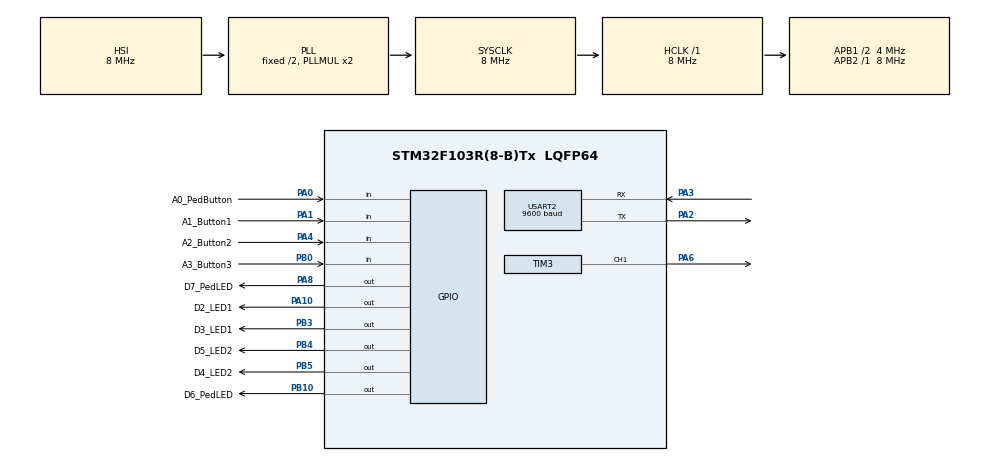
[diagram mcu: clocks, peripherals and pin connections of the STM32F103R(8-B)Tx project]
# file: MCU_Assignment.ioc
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Mcu.Family=STM32F1
Mcu.Name=STM32F103R(8-B)Tx
Mcu.Package=LQFP64
NVIC.PriorityGroup=NVIC_PRIORITYGROUP_4
NVIC.TIM2_IRQn=true\:0\:0\:false\:false\:true\:true\:true\:true
NVIC.TIM3_IRQn=true\:0\:0\:false\:false\:true\:true\:true\:true
NVIC.USART2_IRQn=true\:0\:0\:false\:false\:true\:true\:true\:true
PA0-WKUP.GPIO_Label=A0_PedButton
PA0-WKUP.Signal=GPIO_Input
PA1.GPIO_Label=A1_Button1
PA1.Signal=GPIO_Input
PA10.GPIO_Label=D2_LED1
PA10.Signal=GPIO_Output
PA13.Mode=Serial_Wire
PA13.Signal=SYS_JTMS-SWDIO
PA14.Mode=Serial_Wire
PA14.Signal=SYS_JTCK-SWCLK
PA2.Mode=Asynchronous
PA2.Signal=USART2_TX
PA3.Mode=Asynchronous
PA3.Signal=USART2_RX
PA4.GPIO_Label=A2_Button2
PA4.Signal=GPIO_Input
PA6.Signal=S_TIM3_CH1
PA8.GPIO_Label=D7_PedLED
PA8.Signal=GPIO_Output
PB0.GPIO_Label=A3_Button3
PB0.Signal=GPIO_Input
PB10.GPIO_Label=D6_PedLED
PB10.Signal=GPIO_Output
PB3.GPIO_Label=D3_LED1
PB3.Signal=GPIO_Output
PB4.GPIO_Label=D5_LED2
PB4.Signal=GPIO_Output
PB5.GPIO_Label=D4_LED2
PB5.Signal=GPIO_Output
ProjectManager.HeapSize=0x200
ProjectManager.StackSize=0x400
ProjectManager.TargetToolchain=STM32CubeIDE
RCC.AHBFreq_Value=8000000
RCC.APB1CLKDivider=RCC_HCLK_DIV2
RCC.APB1Freq_Value=4000000
RCC.APB1TimFreq_Value=8000000
RCC.APB2Freq_Value=8000000
RCC.APB2TimFreq_Value=8000000
RCC.HCLKFreq_Value=8000000
RCC.SYSCLKFreq_VALUE=8000000
RCC.SYSCLKSource=RCC_SYSCLKSOURCE_PLLCLK
RCC.USBFreq_Value=8000000
SH.S_TIM3_CH1.0=TIM3_CH1,PWM Generation1 CH1
TIM2.Period=9
TIM2.Prescaler=7999
TIM3.Channel-PWM\ Generation1\ CH1=TIM_CHANNEL_1
TIM3.Period=9
TIM3.Prescaler=7999
USART2.BaudRate=9600
USART2.VirtualMode=VM_ASYNC
VP_TIM2_VS_ClockSourceINT.Mode=Internal
VP_TIM3_VS_ClockSourceINT.Mode=Internal
board=custom

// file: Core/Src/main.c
/* USER CODE BEGIN Header */
/**
  ******************************************************************************
  * @file           : main.c
  * @brief          : Main program body
  ******************************************************************************
  * @attention
  *
  * <h2><center>&copy; Copyright (c) 2023 STMicroelectronics.
  * All rights reserved.</center></h2>
  *
  * This software component is licensed by ST under BSD 3-Clause license,
  * the "License"; You may not use this file except in compliance with the
  * License. You may obtain a copy of the License at:
  *                        opensource.org/licenses/BSD-3-Clause
  *
  ******************************************************************************
  */
/* USER CODE END Header */
#include "main.h"

/* USER CODE BEGIN Includes */
#include "global.h"
#include "timer.h"
#include "fsm_automatic.h"
#include "fsm_manual.h"
#include "input_processing.h"
#include "input_reading.h"
#include "uart.h"
/* USER CODE END Includes */

TIM_HandleTypeDef htim2;
TIM_HandleTypeDef htim3;

UART_HandleTypeDef huart2;

void SystemClock_Config(void);
static void MX_GPIO_Init(void);
static void MX_TIM2_Init(void);
static void MX_TIM3_Init(void);
static void MX_USART2_UART_Init(void);

/* USER CODE BEGIN 0 */
void buzzer(int vol){
	__HAL_TIM_SET_COMPARE(&htim3, TIM_CHANNEL_1, vol);
}
/* USER CODE END 0 */

int main(void)
{

  /* MCU Configuration--------------------------------------------------------*/

  /* Reset of all peripherals, Initializes the Flash interface and the Systick. */
  HAL_Init();

  /* Configure the system clock */
  SystemClock_Config();

  /* Initialize all configured peripherals */
  MX_GPIO_Init();
  MX_TIM2_Init();
  MX_TIM3_Init();
  MX_USART2_UART_Init();
  /* USER CODE BEGIN 2 */
  HAL_TIM_Base_Start_IT(&htim2);
  HAL_TIM_Base_Start_IT(&htim3);
  HAL_TIM_PWM_Start(&htim3, TIM_CHANNEL_1);
  setTimer6(500);
  /* USER CODE END 2 */

  /* Infinite loop */
  /* USER CODE BEGIN WHILE */
  while (1)
  {
	  fsm_automatic();
	  fsm_red_manual();
	  fsm_amber_manual();
	  fsm_green_manual();
	  fsm_button_processing();
    /* USER CODE END WHILE */

  }
}

void SystemClock_Config(void)
{
  RCC_OscInitTypeDef RCC_OscInitStruct = {0};
  RCC_ClkInitTypeDef RCC_ClkInitStruct = {0};

  /** Initializes the RCC Oscillators according to the specified parameters
  * in the RCC_OscInitTypeDef structure.
  */
  RCC_OscInitStruct.OscillatorType = RCC_OSCILLATORTYPE_HSI;
  RCC_OscInitStruct.HSIState = RCC_HSI_ON;
  RCC_OscInitStruct.HSICalibrationValue = RCC_HSICALIBRATION_DEFAULT;
  RCC_OscInitStruct.PLL.PLLState = RCC_PLL_ON;
  RCC_OscInitStruct.PLL.PLLSource = RCC_PLLSOURCE_HSI_DIV2;
  RCC_OscInitStruct.PLL.PLLMUL = RCC_PLL_MUL2;
  if (HAL_RCC_OscConfig(&RCC_OscInitStruct) != HAL_OK)
  {
    Error_Handler();
  }

  /** Initializes the CPU, AHB and APB buses clocks
  */
  RCC_ClkInitStruct.ClockType = RCC_CLOCKTYPE_HCLK|RCC_CLOCKTYPE_SYSCLK
                              |RCC_CLOCKTYPE_PCLK1|RCC_CLOCKTYPE_PCLK2;
  RCC_ClkInitStruct.SYSCLKSource = RCC_SYSCLKSOURCE_PLLCLK;
  RCC_ClkInitStruct.AHBCLKDivider = RCC_SYSCLK_DIV1;
  RCC_ClkInitStruct.APB1CLKDivider = RCC_HCLK_DIV2;
  RCC_ClkInitStruct.APB2CLKDivider = RCC_HCLK_DIV1;

  if (HAL_RCC_ClockConfig(&RCC_ClkInitStruct, FLASH_LATENCY_0) != HAL_OK)
  {
    Error_Handler();
  }
}

static void MX_TIM2_Init(void)
{

  TIM_ClockConfigTypeDef sClockSourceConfig = {0};
  TIM_MasterConfigTypeDef sMasterConfig = {0};

  htim2.Instance = TIM2;
  htim2.Init.Prescaler = 7999;
  htim2.Init.CounterMode = TIM_COUNTERMODE_UP;
  htim2.Init.Period = 9;
  htim2.Init.ClockDivision = TIM_CLOCKDIVISION_DIV1;
  htim2.Init.AutoReloadPreload = TIM_AUTORELOAD_PRELOAD_DISABLE;
  if (HAL_TIM_Base_Init(&htim2) != HAL_OK)
  {
    Error_Handler();
  }
  sClockSourceConfig.ClockSource = TIM_CLOCKSOURCE_INTERNAL;
  if (HAL_TIM_ConfigClockSource(&htim2, &sClockSourceConfig) != HAL_OK)
  {
    Error_Handler();
  }
  sMasterConfig.MasterOutputTrigger = TIM_TRGO_RESET;
  sMasterConfig.MasterSlaveMode = TIM_MASTERSLAVEMODE_DISABLE;
  if (HAL_TIMEx_MasterConfigSynchronization(&htim2, &sMasterConfig) != HAL_OK)
  {
    Error_Handler();
  }

}

static void MX_TIM3_Init(void)
{

  TIM_ClockConfigTypeDef sClockSourceConfig = {0};
  TIM_MasterConfigTypeDef sMasterConfig = {0};
  TIM_OC_InitTypeDef sConfigOC = {0};

  htim3.Instance = TIM3;
  htim3.Init.Prescaler = 7999;
  htim3.Init.CounterMode = TIM_COUNTERMODE_UP;
  htim3.Init.Period = 9;
  htim3.Init.ClockDivision = TIM_CLOCKDIVISION_DIV1;
  htim3.Init.AutoReloadPreload = TIM_AUTORELOAD_PRELOAD_DISABLE;
  if (HAL_TIM_Base_Init(&htim3) != HAL_OK)
  {
    Error_Handler();
  }
  sClockSourceConfig.ClockSource = TIM_CLOCKSOURCE_INTERNAL;
  if (HAL_TIM_ConfigClockSource(&htim3, &sClockSourceConfig) != HAL_OK)
  {
    Error_Handler();
  }
  if (HAL_TIM_PWM_Init(&htim3) != HAL_OK)
  {
    Error_Handler();
  }
  sMasterConfig.MasterOutputTrigger = TIM_TRGO_RESET;
  sMasterConfig.MasterSlaveMode = TIM_MASTERSLAVEMODE_DISABLE;
  if (HAL_TIMEx_MasterConfigSynchronization(&htim3, &sMasterConfig) != HAL_OK)
  {
    Error_Handler();
  }
  sConfigOC.OCMode = TIM_OCMODE_PWM1;
  sConfigOC.Pulse = 0;
  sConfigOC.OCPolarity = TIM_OCPOLARITY_HIGH;
  sConfigOC.OCFastMode = TIM_OCFAST_DISABLE;
  if (HAL_TIM_PWM_ConfigChannel(&htim3, &sConfigOC, TIM_CHANNEL_1) != HAL_OK)
  {
    Error_Handler();
  }
  HAL_TIM_MspPostInit(&htim3);

}

static void MX_USART2_UART_Init(void)
{

  huart2.Instance = USART2;
  huart2.Init.BaudRate = 9600;
  huart2.Init.WordLength = UART_WORDLENGTH_8B;
  huart2.Init.StopBits = UART_STOPBITS_1;
  huart2.Init.Parity = UART_PARITY_NONE;
  huart2.Init.Mode = UART_MODE_TX_RX;
  huart2.Init.HwFlowCtl = UART_HWCONTROL_NONE;
  huart2.Init.OverSampling = UART_OVERSAMPLING_16;
  if (HAL_UART_Init(&huart2) != HAL_OK)
  {
    Error_Handler();
  }

}

static void MX_GPIO_Init(void)
{
  GPIO_InitTypeDef GPIO_InitStruct = {0};

  /* GPIO Ports Clock Enable */
  __HAL_RCC_GPIOA_CLK_ENABLE();
  __HAL_RCC_GPIOB_CLK_ENABLE();

  /*Configure GPIO pin Output Level */
  HAL_GPIO_WritePin(GPIOB, D6_PedLED_Pin|D3_LED1_Pin|D5_LED2_Pin|D4_LED2_Pin, GPIO_PIN_RESET);

  /*Configure GPIO pin Output Level */
  HAL_GPIO_WritePin(GPIOA, D7_PedLED_Pin|D2_LED1_Pin, GPIO_PIN_RESET);

  /*Configure GPIO pins : A0_PedButton_Pin A1_Button1_Pin A2_Button2_Pin */
  GPIO_InitStruct.Pin = A0_PedButton_Pin|A1_Button1_Pin|A2_Button2_Pin;
  GPIO_InitStruct.Mode = GPIO_MODE_INPUT;
  GPIO_InitStruct.Pull = GPIO_NOPULL;
  HAL_GPIO_Init(GPIOA, &GPIO_InitStruct);

  /*Configure GPIO pin : A3_Button3_Pin */
  GPIO_InitStruct.Pin = A3_Button3_Pin;
  GPIO_InitStruct.Mode = GPIO_MODE_INPUT;
  GPIO_InitStruct.Pull = GPIO_NOPULL;
  HAL_GPIO_Init(A3_Button3_GPIO_Port, &GPIO_InitStruct);

  /*Configure GPIO pins : D6_PedLED_Pin D3_LED1_Pin D5_LED2_Pin D4_LED2_Pin */
  GPIO_InitStruct.Pin = D6_PedLED_Pin|D3_LED1_Pin|D5_LED2_Pin|D4_LED2_Pin;
  GPIO_InitStruct.Mode = GPIO_MODE_OUTPUT_PP;
  GPIO_InitStruct.Pull = GPIO_NOPULL;
  GPIO_InitStruct.Speed = GPIO_SPEED_FREQ_LOW;
  HAL_GPIO_Init(GPIOB, &GPIO_InitStruct);

  /*Configure GPIO pins : D7_PedLED_Pin D2_LED1_Pin */
  GPIO_InitStruct.Pin = D7_PedLED_Pin|D2_LED1_Pin;
  GPIO_InitStruct.Mode = GPIO_MODE_OUTPUT_PP;
  GPIO_InitStruct.Pull = GPIO_NOPULL;
  GPIO_InitStruct.Speed = GPIO_SPEED_FREQ_LOW;
  HAL_GPIO_Init(GPIOA, &GPIO_InitStruct);

}

/* USER CODE BEGIN 4 */
void HAL_TIM_PeriodElapsedCallback(TIM_HandleTypeDef *htim2) {
	timer_run();
	button_reading();
}
/* USER CODE END 4 */

void Error_Handler(void)
{
  __disable_irq();
  while (1)
  {
  }
}
